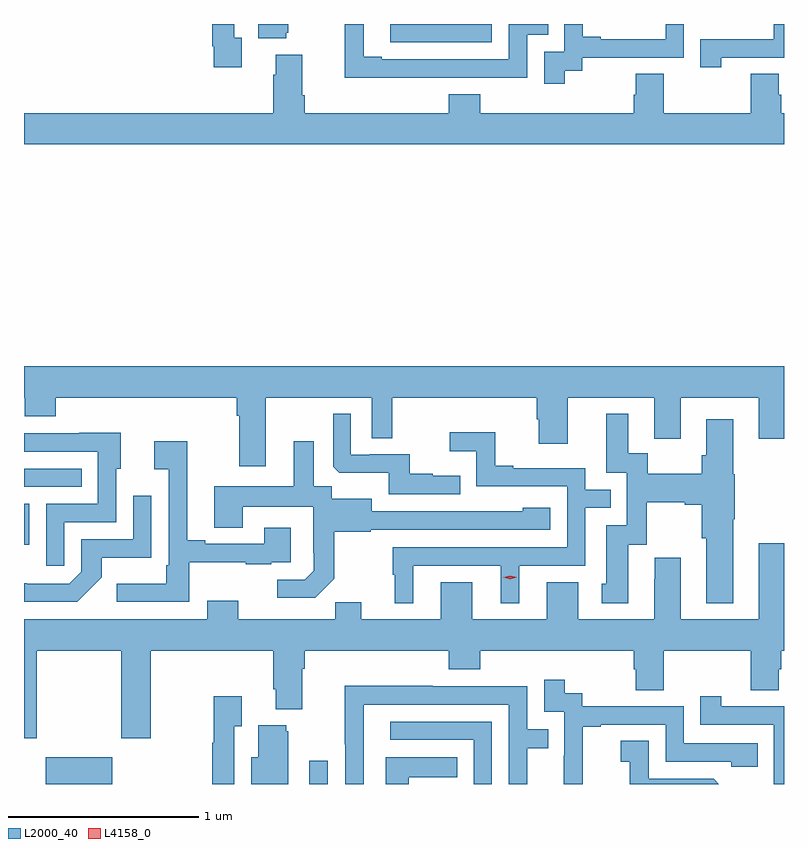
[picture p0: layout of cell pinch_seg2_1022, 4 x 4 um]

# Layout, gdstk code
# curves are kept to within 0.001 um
import gdstk
lib = gdstk.Library(unit=1e-6, precision=1e-09)
def R(c, l, rs):  # rectangles x0, y0, x1, y1
    for r in rs: c.add(gdstk.rectangle(r[:2], r[2:], *l))
def P(c, l, *ps):  # polygons
    for p in ps: c.add(gdstk.Polygon(p, *l))
L2000_40 = (2000, 40)
L4158_0 = (4158, 0)

pinch_seg2_1022 = lib.new_cell('pinch_seg2_1022')
R(pinch_seg2_1022, L2000_40, [(266.582,617.63,266.932,617.77), (267.969,617.63,268.065,617.752), (266.467,618.89,266.494,619.105), (266.467,619.194,266.771,619.29), (268.395,621.534,268.929,621.63)])
P(pinch_seg2_1022, L2000_40, [(268.619,621.348),(269.115,621.348),(269.115,621.573),(269.225,621.573),(269.225,621.63),(269.019,621.63),(269.019,621.444),(268.351,621.444),(268.351,621.457),(268.254,621.457),(268.254,621.63),(268.156,621.63),(268.156,621.347),(268.619,621.347)],
  [(267.848,621.585),(267.859,621.585),(267.859,621.63),(267.701,621.63),(267.701,621.554),(267.848,621.554)],
  [(270.136,621.453),(270.467,621.453),(270.467,621.63),(270.414,621.63),(270.414,621.549),(270.025,621.549),(270.025,621.402),(270.136,621.402)],
  [(269.314,621.385),(269.406,621.385),(269.406,621.453),(269.94,621.453),(269.94,621.63),(269.844,621.63),(269.844,621.549),(269.503,621.549),(269.503,621.562),(269.408,621.562),(269.408,621.63),(269.31,621.63),(269.31,621.483),(269.205,621.483),(269.205,621.315),(269.314,621.315)],
  [(267.613,621.558),(267.573,621.558),(267.573,621.63),(267.457,621.63),(267.457,621.514),(267.465,621.514),(267.465,621.402),(267.613,621.402)],
  [(270.467,621.16),(270.452,621.16),(270.452,621.258),(270.439,621.258),(270.439,621.368),(270.292,621.368),(270.292,621.16),(269.835,621.16),(269.835,621.368),(269.687,621.368),(269.687,621.258),(269.675,621.258),(269.675,621.16),(268.868,621.16),(268.868,621.259),(268.703,621.259),(268.703,621.16),(267.944,621.16),(267.944,621.256),(267.931,621.256),(267.931,621.469),(267.791,621.469),(267.791,621.362),(267.779,621.362),(267.779,621.16),(266.467,621.16),(266.467,620.996),(270.467,620.996)],
  [(267.739,619.664),(268.296,619.664),(268.296,619.45),(268.405,619.45),(268.405,619.664),(269.165,619.664),(269.165,619.551),(269.177,619.551),(269.177,619.422),(269.329,619.422),(269.329,619.664),(269.783,619.664),(269.783,619.446),(269.923,619.446),(269.923,619.664),(270.335,619.664),(270.335,619.446),(270.467,619.446),(270.467,619.828),(266.467,619.828),(266.467,619.664),(266.471,619.664),(266.471,619.565),(266.635,619.565),(266.635,619.664),(267.587,619.664),(267.587,619.568),(267.599,619.568),(267.599,619.302),(267.739,619.302)],
  [(270.199,619.023),(270.207,619.023),(270.207,619.26),(270.199,619.26),(270.199,619.549),(270.059,619.549),(270.059,619.359),(270.034,619.359),(270.034,619.264),(269.749,619.264),(269.749,619.37),(269.647,619.37),(269.647,619.579),(269.531,619.579),(269.531,619.269),(269.64,619.269),(269.64,618.993),(269.531,618.993),(269.531,618.684),(269.507,618.684),(269.507,618.582),(269.647,618.582),(269.647,618.89),(269.745,618.89),(269.745,619.112),(269.945,619.112),(269.945,619.1),(270.034,619.1),(270.034,618.923),(270.059,618.923),(270.059,618.581),(270.199,618.581)],
  [(268.763,619.252),(268.619,619.252),(268.619,619.264),(268.496,619.264),(268.496,619.365),(268.288,619.365),(268.288,619.362),(268.188,619.362),(268.188,619.579),(268.095,619.579),(268.095,619.299),(268.127,619.268),(268.386,619.268),(268.386,619.155),(268.763,619.155)],
  [(268.516,618.78),(268.976,618.78),(268.976,618.581),(269.074,618.581),(269.074,618.78),(269.421,618.78),(269.421,619.083),(269.555,619.083),(269.555,619.179),(269.421,619.179),(269.421,619.293),(269.041,619.293),(269.041,619.306),(268.947,619.306),(268.947,619.481),(268.707,619.481),(268.707,619.382),(268.848,619.382),(268.848,619.197),(269.325,619.197),(269.325,618.876),(268.407,618.876),(268.407,618.732),(268.418,618.732),(268.418,618.581),(268.516,618.581)],
  [(266.679,619.008),(266.952,619.008),(266.952,619.29),(266.977,619.29),(266.977,619.478),(266.759,619.478),(266.759,619.476),(266.467,619.476),(266.467,619.38),(266.856,619.38),(266.856,619.104),(266.583,619.104),(266.583,618.78),(266.679,618.78)],
  [(267.337,618.797),(267.635,618.797),(267.635,618.786),(267.767,618.786),(267.767,618.798),(267.871,618.798),(267.871,618.979),(267.731,618.979),(267.731,618.894),(267.421,618.894),(267.421,618.913),(267.325,618.913),(267.325,619.435),(267.153,619.435),(267.153,619.286),(267.228,619.286),(267.228,618.781),(267.216,618.781),(267.216,618.685),(266.955,618.685),(266.955,618.588),(267.337,618.588)],
  [(268.101,618.711),(268.101,618.957),(268.293,618.957),(268.293,618.969),(269.236,618.969),(269.236,619.084),(269.091,619.084),(269.091,619.066),(268.297,619.065),(268.297,619.132),(268.086,619.132),(268.086,619.196),(267.991,619.196),(267.991,619.435),(267.887,619.435),(267.887,619.198),(267.467,619.198),(267.467,618.979),(267.619,618.979),(267.619,619.088),(267.99,619.088),(267.99,618.847),(267.992,618.847),(267.992,618.752),(267.945,618.705),(267.801,618.705),(267.801,618.611),(268.001,618.611)],
  [(266.877,618.719),(266.877,618.821),(267.138,618.821),(267.138,619.147),(267.042,619.147),(267.042,618.918),(266.769,618.918),(266.769,618.747),(266.706,618.684),(266.482,618.684),(266.482,618.686),(266.467,618.686),(266.467,618.588),(266.746,618.588)],
  [(268.661,618.496),(268.243,618.496),(268.243,618.587),(268.105,618.587),(268.105,618.496),(267.595,618.496),(267.595,618.595),(267.431,618.595),(267.431,618.496),(266.467,618.496),(266.467,617.871),(266.535,617.871),(266.535,618.332),(266.98,618.332),(266.98,617.871),(267.135,617.871),(267.135,618.332),(267.779,618.332),(267.779,618.13),(267.791,618.13),(267.791,618.023),(267.931,618.023),(267.931,618.236),(267.944,618.236),(267.944,618.332),(268.703,618.332),(268.703,618.233),(268.868,618.233),(268.868,618.332),(269.675,618.332),(269.675,618.234),(269.687,618.234),(269.687,618.124),(269.835,618.124),(269.835,618.332),(270.292,618.332),(270.292,618.124),(270.439,618.124),(270.439,618.234),(270.452,618.234),(270.452,618.332),(270.467,618.332),(270.467,618.898),(270.335,618.898),(270.335,618.496),(269.923,618.496),(269.923,618.82),(269.786,618.82),(269.786,618.707),(269.783,618.707),(269.783,618.496),(269.383,618.496),(269.383,618.691),(269.219,618.691),(269.219,618.496),(268.825,618.496),(268.825,618.691),(268.661,618.691)],
  [(269.409,617.647),(269.408,617.647),(269.408,617.931),(269.503,617.931),(269.503,617.943),(269.844,617.943),(269.844,617.748),(270.189,617.748),(270.189,617.721),(270.329,617.721),(270.329,617.844),(269.94,617.844),(269.94,618.039),(269.406,618.039),(269.406,618.108),(269.314,618.108),(269.314,618.178),(269.205,618.178),(269.205,618.009),(269.31,618.009),(269.31,617.78),(269.309,617.78),(269.309,617.63),(269.409,617.63)],
  [(268.254,618.048),(269.019,618.048),(269.019,617.63),(269.115,617.63),(269.115,617.818),(269.225,617.818),(269.225,617.919),(269.115,617.919),(269.115,618.144),(268.619,618.144),(268.619,618.146),(268.156,618.146),(268.156,617.839),(268.158,617.839),(268.158,617.63),(268.254,617.63)],
  [(270.467,618.039),(270.136,618.039),(270.136,618.091),(270.025,618.091),(270.025,617.943),(270.414,617.943),(270.414,617.63),(270.467,617.63)],
  [(267.573,617.935),(267.613,617.935),(267.613,618.091),(267.465,618.091),(267.465,617.846),(267.457,617.846),(267.457,617.63),(267.573,617.63)],
  [(268.929,617.958),(268.395,617.958),(268.395,617.862),(268.833,617.862),(268.833,617.63),(268.929,617.63)],
  [(267.859,617.907),(267.848,617.907),(267.848,617.938),(267.701,617.938),(267.701,617.77),(267.662,617.77),(267.662,617.63),(267.859,617.63)],
  [(270.096,617.658),(269.754,617.658),(269.754,617.857),(269.607,617.857),(269.607,617.747),(269.656,617.747),(269.656,617.63),(270.124,617.63)],
  [(268.491,617.666),(268.748,617.666),(268.748,617.77),(268.37,617.77),(268.37,617.63),(268.491,617.63)])
P(pinch_seg2_1022, L4158_0, [(269.025,618.707),(268.989,618.717),(268.989,618.717),(268.989,618.717),(269.025,618.727),(269.061,618.717),(269.061,618.717),(269.061,618.717)])

lib.write_gds('pinch_seg2_1022.gds')
